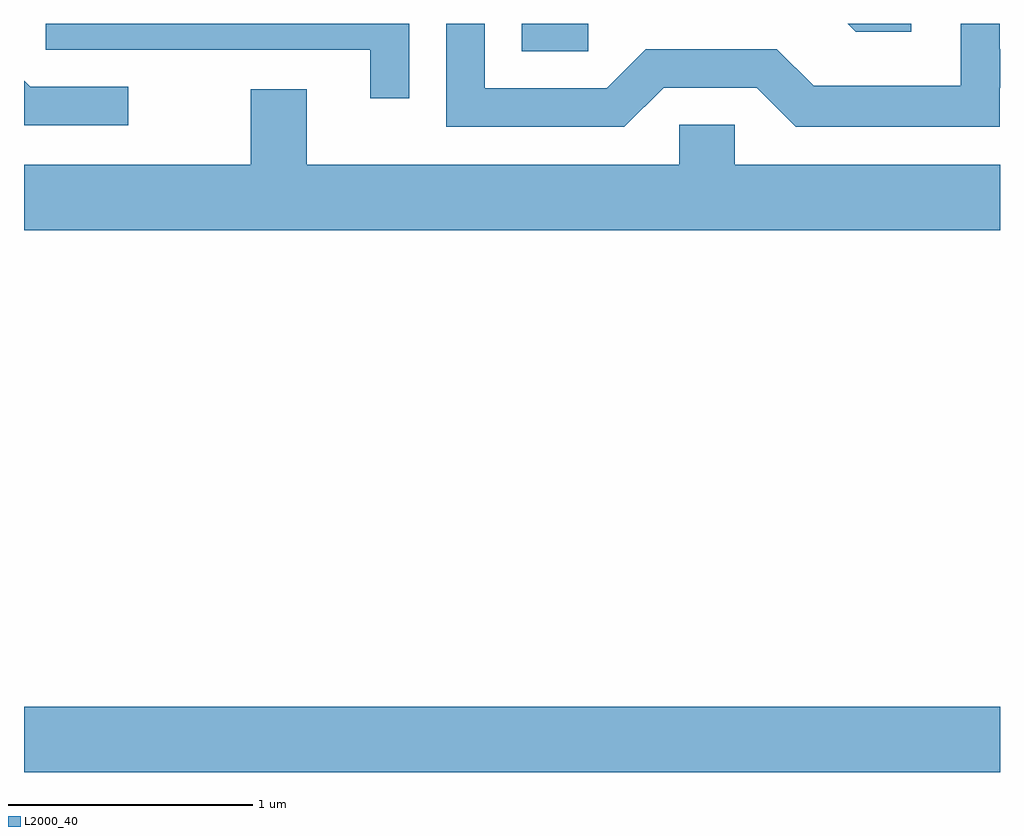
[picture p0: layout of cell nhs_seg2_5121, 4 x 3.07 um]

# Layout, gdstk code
import gdstk
lib = gdstk.Library(unit=1e-6, precision=1e-09)
def R(c, l, rs):  # rectangles x0, y0, x1, y1
    for r in rs: c.add(gdstk.rectangle(r[:2], r[2:], *l))
def P(c, l, *ps):  # polygons
    for p in ps: c.add(gdstk.Polygon(p, *l))
L2000_40 = (2000, 40)

nhs_seg2_5121 = lib.new_cell('nhs_seg2_5121')
R(nhs_seg2_5121, L2000_40, [(335.611,1072.736,339.611,1073.004), (337.651,1075.691,337.923,1075.802)])
P(nhs_seg2_5121, L2000_40, [(337.189,1075.802),(335.701,1075.802),(335.701,1075.696),(337.031,1075.696),(337.031,1075.498),(337.189,1075.498)],
  [(339.248,1075.802),(338.988,1075.802),(339.019,1075.771),(339.248,1075.771)],
  [(338.232,1075.541),(338.614,1075.541),(338.774,1075.381),(339.609,1075.381),(339.609,1075.541),(339.611,1075.541),(339.611,1075.699),(339.609,1075.699),(339.609,1075.802),(339.451,1075.802),(339.451,1075.549),(338.847,1075.549),(338.697,1075.699),(338.159,1075.699),(337.999,1075.539),(337.499,1075.539),(337.499,1075.802),(337.341,1075.802),(337.341,1075.381),(338.072,1075.381)],
  [(336.038,1075.544),(335.637,1075.544),(335.611,1075.57),(335.611,1075.386),(336.038,1075.386)],
  [(339.611,1075.224),(338.524,1075.224),(338.524,1075.389),(338.296,1075.389),(338.296,1075.224),(336.769,1075.224),(336.769,1075.534),(336.541,1075.534),(336.541,1075.224),(335.611,1075.224),(335.611,1074.956),(339.611,1074.956)])

lib.write_gds('nhs_seg2_5121.gds')
